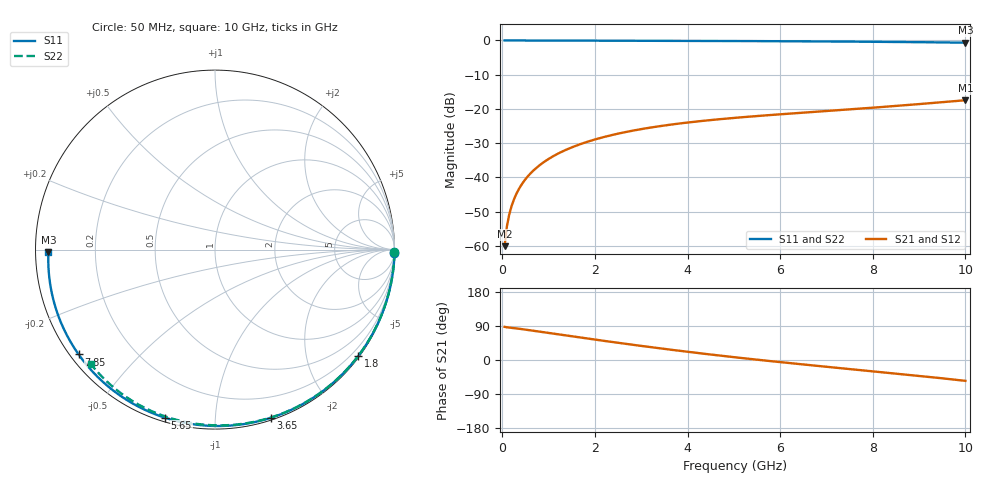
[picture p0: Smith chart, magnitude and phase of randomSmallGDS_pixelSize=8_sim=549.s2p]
! freq	dB(S11)	phase(S11)	dB(S12)	phase(S12)
!  dB(S21)	phase(S21)	dB(S22)	phase(S22)
!S-par simulation data
#  GHz  S  DB  R 50
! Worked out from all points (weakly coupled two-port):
!   200 points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, 50 MHz to 10 GHz, reference 50 ohm
!   highest |S21| = -17.46 dB at 10 GHz (marker M1); lowest = -60.1 dB at 50 MHz (marker M2)
!   lowest |S11| = -0.6 dB at 10 GHz (marker M3), VSWR 26.86, Z = 1.86 - j0.413 ohm
!   |S11| at or under -10 dB: nowhere
!   |S22| runs from -0.5 to 0.0 dB; largest |S21 - S12| = 0
!   S11 on the Smith chart (normalised r, x): 50 MHz: open; 1.8 GHz: 0.03, -3.03; 3.65 GHz: 0.02, -1.38; 5.65 GHz: 0.02, -0.75; 7.85 GHz: 0.02, -0.34; 10 GHz: 0.04, -0.01
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0.05  -0.00 -1.0  -60.08 87.5  -60.08 87.5  -0.00 -0.8
0.1  -0.00 -2.1  -54.24 86.3  -54.24 86.3  -0.00 -1.6
0.15  -0.00 -3.1  -50.82 85.6  -50.82 85.6  -0.00 -2.4
0.2  -0.00 -4.2  -48.38 84.9  -48.38 84.9  -0.00 -3.2
0.35  -0.01 -7.3  -43.59 82.7  -43.59 82.7  -0.00 -5.7
0.5  -0.01 -10.3  -40.52 80.2  -40.52 80.2  -0.01 -8.1
0.7  -0.02 -14.4  -37.64 76.7  -37.64 76.7  -0.01 -11.3
1  -0.03 -20.6  -34.60 71.4  -34.60 71.4  -0.02 -16.0
1.35  -0.04 -27.6  -32.09 65.2  -32.09 65.2  -0.03 -21.6
1.75  -0.05 -35.6  -29.98 58.2  -29.98 58.2  -0.04 -27.8
1.8  -0.05 -36.6  -29.75 57.3  -29.75 57.3  -0.04 -28.6
2.6  -0.07 -52.2  -26.92 43.7  -26.92 43.7  -0.06 -40.9
3.4  -0.10 -67.2  -25.03 30.9  -25.03 30.9  -0.08 -52.8
3.65  -0.11 -71.7  -24.56 27.0  -24.56 27.0  -0.09 -56.5
4.35  -0.14 -84.3  -23.45 16.6  -23.45 16.6  -0.11 -66.5
5.05  -0.17 -96.4  -22.57 6.8  -22.57 6.8  -0.14 -76.1
5.65  -0.20 -106.5  -21.92 -1.1  -21.92 -1.1  -0.16 -84.2
6.7  -0.27 -123.8  -20.89 -14.2  -20.89 -14.2  -0.22 -97.7
7.85  -0.37 -142.4  -19.78 -27.9  -19.78 -27.9  -0.30 -112.0
8.35  -0.42 -150.6  -19.28 -33.9  -19.28 -33.9  -0.34 -118.0
9.2  -0.53 -164.9  -18.36 -44.4  -18.36 -44.4  -0.43 -128.1
10  -0.65 -179.1  -17.46 -55.0  -17.46 -55.0  -0.54 -137.5
